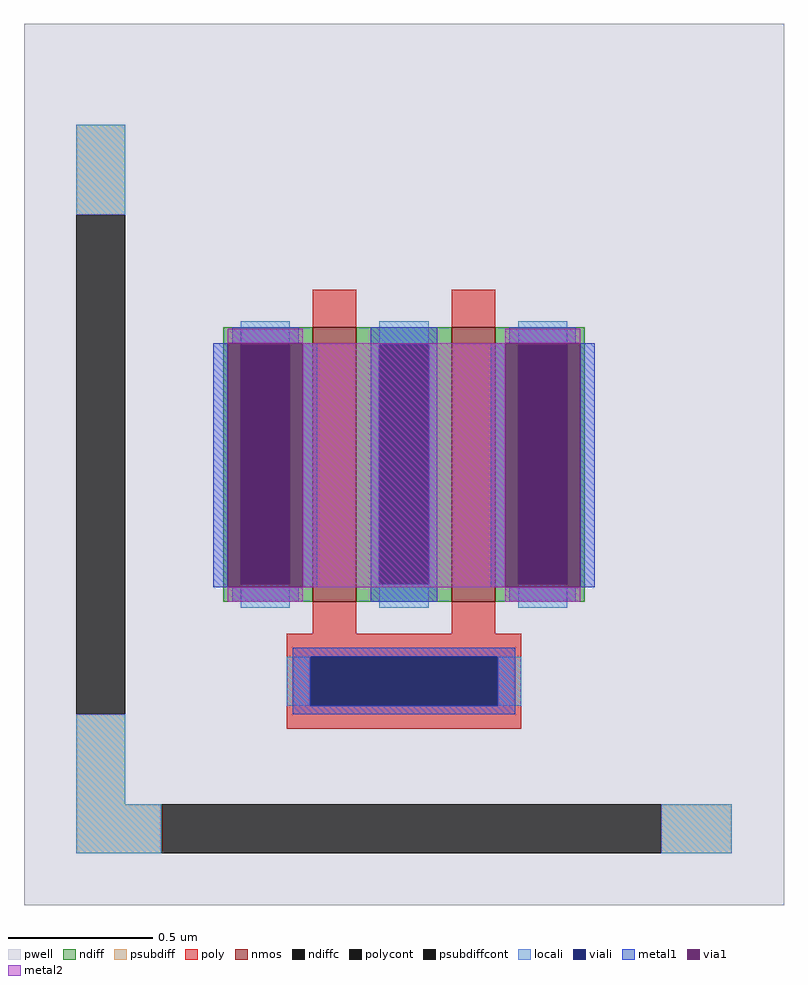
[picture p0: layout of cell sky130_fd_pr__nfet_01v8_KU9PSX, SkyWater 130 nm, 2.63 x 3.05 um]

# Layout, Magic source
magic
tech sky130A
magscale 1 2
<< pwell >>
rect -263 -305 263 305
<< nmos >>
rect -63 -95 -33 95
rect 33 -95 63 95
<< ndiff >>
rect -125 83 -63 95
rect -125 -83 -113 83
rect -79 -83 -63 83
rect -125 -95 -63 -83
rect -33 83 33 95
rect -33 -83 -17 83
rect 17 -83 33 83
rect -33 -95 33 -83
rect 63 83 125 95
rect 63 -83 79 83
rect 113 -83 125 83
rect 63 -95 125 -83
<< ndiffc >>
rect -113 -83 -79 83
rect -17 -83 17 83
rect 79 -83 113 83
<< psubdiff >>
rect -227 173 -193 235
rect -227 -235 -193 -173
rect -227 -269 -168 -235
rect 178 -269 227 -235
<< psubdiffcont >>
rect -227 -173 -193 173
rect -168 -269 178 -235
<< poly >>
rect -63 95 -33 121
rect 33 95 63 121
rect -63 -117 -33 -95
rect 33 -117 63 -95
rect -81 -133 81 -117
rect -81 -167 -65 -133
rect 65 -167 81 -133
rect -81 -183 81 -167
<< polycont >>
rect -65 -167 65 -133
<< locali >>
rect -227 173 -193 235
rect -113 83 -79 99
rect -113 -99 -79 -83
rect -17 83 17 99
rect -17 -99 17 -83
rect 79 83 113 99
rect 79 -99 113 -83
rect -81 -167 -65 -133
rect 65 -167 81 -133
rect -227 -235 -193 -173
rect -227 -269 -168 -235
rect 178 -269 227 -235
<< viali >>
rect -113 -83 -79 83
rect -17 -83 17 83
rect 79 -83 113 83
rect -65 -167 65 -133
<< metal1 >>
rect -119 84 -73 95
rect -132 -85 -122 84
rect -70 -85 -60 84
rect -23 83 23 95
rect 73 84 119 95
rect -23 -83 -17 83
rect 17 -83 23 83
rect -119 -95 -73 -85
rect -23 -95 23 -83
rect 60 -85 70 84
rect 122 -85 132 84
rect 73 -95 119 -85
rect -77 -133 77 -127
rect -77 -167 -65 -133
rect 65 -167 77 -133
rect -77 -173 77 -167
<< via1 >>
rect -122 83 -70 84
rect -122 -83 -113 83
rect -113 -83 -79 83
rect -79 -83 -70 83
rect -122 -85 -70 -83
rect 70 83 122 84
rect 70 -83 79 83
rect 79 -83 113 83
rect 113 -83 122 83
rect 70 -85 122 -83
<< metal2 >>
rect -122 84 -70 94
rect 70 84 122 94
rect -70 -85 70 84
rect -122 -95 -70 -85
rect 70 -95 122 -85
<< properties >>
string gencell sky130_fd_pr__nfet_01v8
string FIXED_BBOX -210 -252 210 252
string parameters w 0.95 l 0.150 m 1 nf 2 diffcov 100 polycov 100 guard 1 glc 1 grc 1 gtc 1 gbc 1 tbcov 100 rlcov 100 topc 1 botc 1 poverlap 0 doverlap 1 lmin 0.15 wmin 0.42 compatible {sky130_fd_pr__nfet_01v8 sky130_fd_pr__nfet_01v8_lvt  sky130_fd_bs_flash__special_sonosfet_star  sky130_fd_pr__nfet_g5v0d10v5 sky130_fd_pr__nfet_05v0_nvt  sky130_fd_pr__nfet_03v3_nvt} full_metal 1 viasrc 100 viadrn 100 viagate 100 viagb 0 viagr 0 viagl 0 viagt 0
string library sky130
<< end >>
